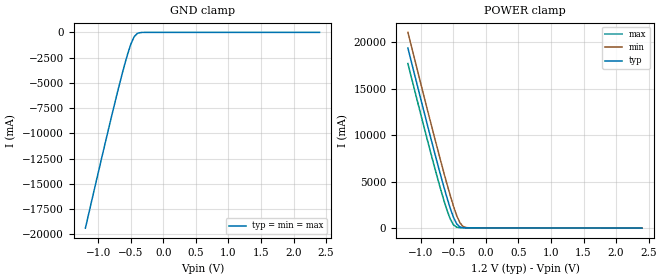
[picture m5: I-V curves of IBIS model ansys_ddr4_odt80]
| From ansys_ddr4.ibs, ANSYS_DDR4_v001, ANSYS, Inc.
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|Model ansys_ddr4_odt80
[Model] ansys_ddr4_odt80
Model_type Input
Vinl = 0.8
Vinh = 1.0
C_comp 1e-13 9.5e-14 1.05e-13
[Temperature Range] 25.0 0.0 85.0
[Voltage Range] 1.2 1.14 1.26
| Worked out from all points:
|   GND clamp passes 1 mA (typ) near -0.27 V on its own axis
|   POWER clamp passes 1 mA (typ) near -0.08 V on its own axis
[GND Clamp]
-1.2V     -19.39A    -19.39A    -19.39A
-850mV    -9.722A    -9.722A    -9.722A
-700mV    -5.751A    -5.751A    -5.751A
-600mV    -3.265A    -3.265A    -3.265A
-550mV    -2.13A     -2.13A     -2.13A
-500mV    -1.141A    -1.141A    -1.141A
-450mV    -425.1mA   -425.1mA   -425.1mA
-400mV    -94.51mA   -94.51mA   -94.51mA
-250mV    -337.2uA   -337.2uA   -337.2uA
2.4V      240uA      240uA      240uA
[POWER Clamp]
-1.2V     19.4A      21.09A     17.72A
-950mV    12.46A     14.11A     10.82A
-800mV    8.389A     10A        6.799A
-700mV    5.76A      7.326A     4.242A
-600mV    3.272A     4.741A     1.924A
-550mV    2.136A     3.511A     976.9mA
-500mV    1.148A     2.355A     333.2mA
-450mV    430.6mA    1.329A     71.1mA
-400mV    99.47mA    544.8mA    14.28mA
-350mV    19.38mA    137.9mA    4.931mA
-200mV    2.545mA    3.882mA    1.671mA
2.4V      -30mA      -30.79mA   -29.29mA
